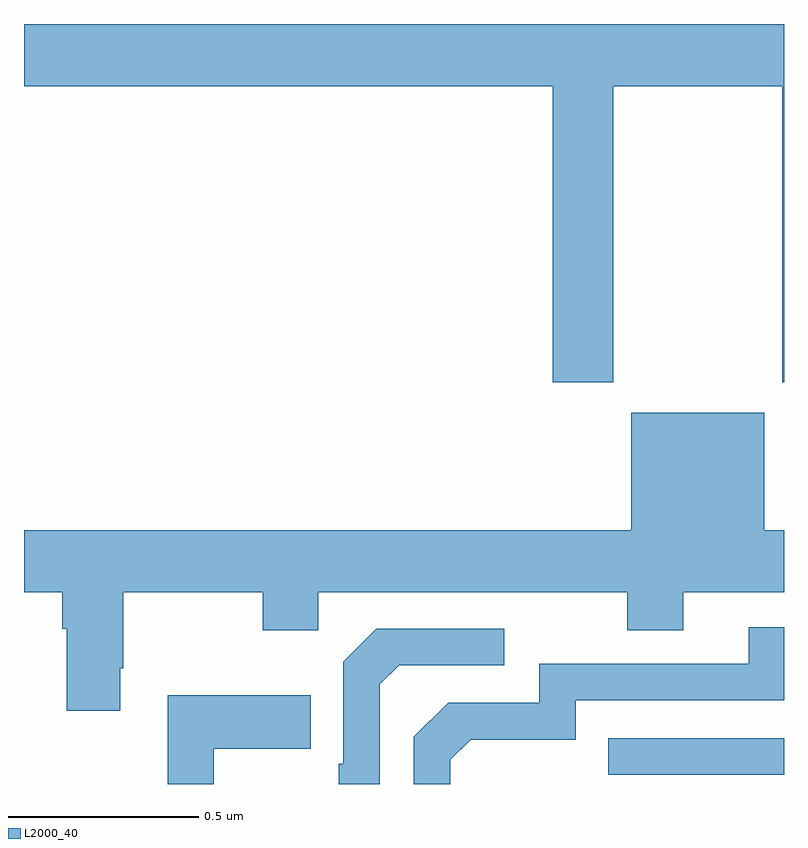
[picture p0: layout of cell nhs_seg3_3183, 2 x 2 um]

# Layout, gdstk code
import gdstk
lib = gdstk.Library(unit=1e-6, precision=1e-09)
def R(c, l, rs):  # rectangles x0, y0, x1, y1
    for r in rs: c.add(gdstk.rectangle(r[:2], r[2:], *l))
def P(c, l, *ps):  # polygons
    for p in ps: c.add(gdstk.Polygon(p, *l))
L2000_40 = (2000, 40)

nhs_seg3_3183 = lib.new_cell('nhs_seg3_3183')
R(nhs_seg3_3183, L2000_40, [(151.537,712.425,152,712.521)])
P(nhs_seg3_3183, L2000_40, [(151.551,714.236),(151.996,714.236),(151.996,713.457),(152,713.457),(152,714.4),(150,714.4),(150,714.236),(151.391,714.236),(151.391,713.457),(151.551,713.457)],
  [(150.253,712.705),(150.261,712.705),(150.261,712.904),(150.628,712.904),(150.628,712.805),(150.774,712.805),(150.774,712.904),(151.588,712.904),(151.588,712.805),(151.735,712.805),(151.735,712.904),(152,712.904),(152,713.068),(151.948,713.068),(151.948,713.377),(151.598,713.377),(151.598,713.068),(150,713.068),(150,712.904),(150.101,712.904),(150.101,712.808),(150.113,712.808),(150.113,712.593),(150.253,712.593)],
  [(151.122,712.464),(151.175,712.517),(151.452,712.517),(151.452,712.62),(152,712.62),(152,712.812),(151.907,712.812),(151.907,712.716),(151.356,712.716),(151.356,712.614),(151.116,712.614),(151.026,712.524),(151.026,712.4),(151.122,712.4)],
  [(150.936,712.662),(150.987,712.713),(151.264,712.713),(151.264,712.809),(150.927,712.809),(150.84,712.722),(150.84,712.453),(150.828,712.453),(150.828,712.4),(150.936,712.4)],
  [(150.499,712.493),(150.755,712.493),(150.755,712.633),(150.378,712.633),(150.378,712.4),(150.499,712.4)])

lib.write_gds('nhs_seg3_3183.gds')
